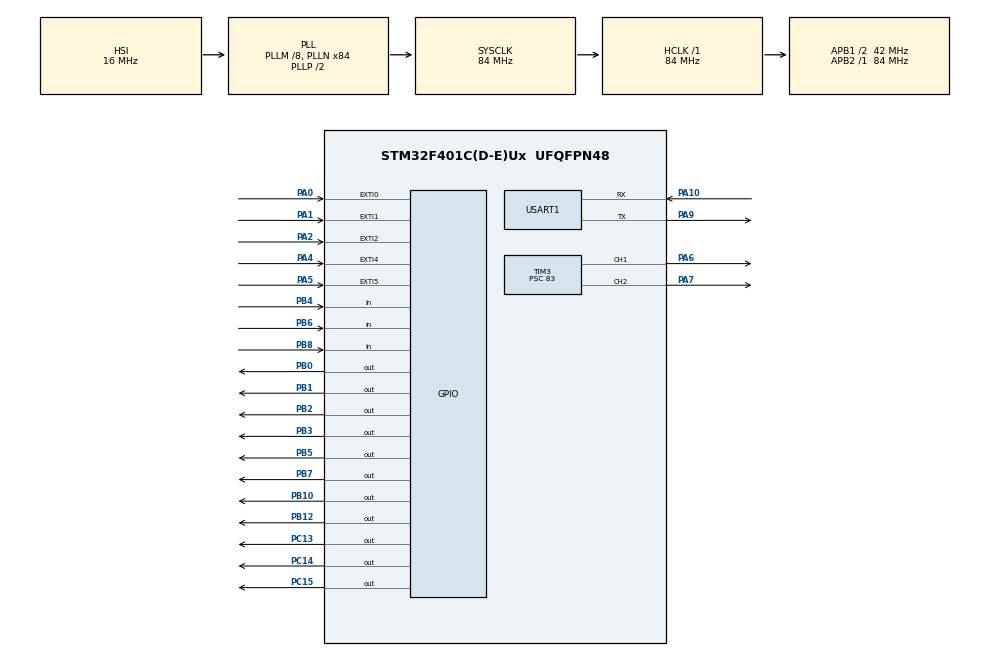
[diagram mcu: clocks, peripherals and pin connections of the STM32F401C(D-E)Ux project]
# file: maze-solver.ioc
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Mcu.Family=STM32F4
Mcu.Name=STM32F401C(D-E)Ux
Mcu.Package=UFQFPN48
NVIC.EXTI0_IRQn=true\:0\:0\:false\:false\:true\:true\:true\:true
NVIC.EXTI1_IRQn=true\:0\:0\:false\:false\:true\:true\:true\:true
NVIC.EXTI2_IRQn=true\:0\:0\:false\:false\:true\:true\:true\:true
NVIC.EXTI4_IRQn=true\:0\:0\:false\:false\:true\:true\:true\:true
NVIC.EXTI9_5_IRQn=true\:0\:0\:false\:false\:true\:true\:true\:true
NVIC.PriorityGroup=NVIC_PRIORITYGROUP_4
PA0-WKUP.GPIO_ModeDefaultEXTI=GPIO_MODE_IT_FALLING
PA0-WKUP.Signal=GPXTI0
PA1.GPIO_ModeDefaultEXTI=GPIO_MODE_IT_FALLING
PA1.Signal=GPXTI1
PA10.Mode=Asynchronous
PA10.Signal=USART1_RX
PA13.Mode=Serial_Wire
PA13.Signal=SYS_JTMS-SWDIO
PA14.Mode=Serial_Wire
PA14.Signal=SYS_JTCK-SWCLK
PA2.GPIO_ModeDefaultEXTI=GPIO_MODE_IT_FALLING
PA2.Signal=GPXTI2
PA4.Signal=GPXTI4
PA5.Signal=GPXTI5
PA6.Signal=S_TIM3_CH1
PA7.Signal=S_TIM3_CH2
PA9.Mode=Asynchronous
PA9.Signal=USART1_TX
PB0.Signal=GPIO_Output
PB1.Signal=GPIO_Output
PB10.Signal=GPIO_Output
PB12.Signal=GPIO_Output
PB2.Signal=GPIO_Output
PB3.Signal=GPIO_Output
PB4.Signal=GPIO_Input
PB5.Signal=GPIO_Output
PB6.Signal=GPIO_Input
PB7.Signal=GPIO_Output
PB8.Signal=GPIO_Input
PC13-ANTI_TAMP.Signal=GPIO_Output
PC14-OSC32_IN.GPIO_ModeDefaultOutputPP=GPIO_MODE_OUTPUT_OD
PC14-OSC32_IN.GPIO_PuPd=GPIO_PULLUP
PC14-OSC32_IN.Signal=GPIO_Output
PC15-OSC32_OUT.GPIO_ModeDefaultOutputPP=GPIO_MODE_OUTPUT_OD
PC15-OSC32_OUT.GPIO_PuPd=GPIO_PULLUP
PC15-OSC32_OUT.Signal=GPIO_Output
PH0\ -\ OSC_IN.Mode=HSE-External-Oscillator
PH0\ -\ OSC_IN.Signal=RCC_OSC_IN
PH1\ -\ OSC_OUT.Mode=HSE-External-Oscillator
PH1\ -\ OSC_OUT.Signal=RCC_OSC_OUT
ProjectManager.HeapSize=0x200
ProjectManager.StackSize=0x400
ProjectManager.TargetToolchain=CMake
RCC.48MHZClocksFreq_Value=42000000
RCC.AHBFreq_Value=84000000
RCC.APB1CLKDivider=RCC_HCLK_DIV2
RCC.APB1Freq_Value=42000000
RCC.APB1TimFreq_Value=84000000
RCC.APB2Freq_Value=84000000
RCC.APB2TimFreq_Value=84000000
RCC.CortexFreq_Value=84000000
RCC.HCLKFreq_Value=84000000
RCC.HSE_VALUE=25000000
RCC.HSI_VALUE=16000000
RCC.LSE_VALUE=32768
RCC.PLLM=8
RCC.PLLN=84
RCC.SYSCLKFreq_VALUE=84000000
RCC.SYSCLKSource=RCC_SYSCLKSOURCE_PLLCLK
RCC.VCOOutputFreq_Value=168000000
SH.S_TIM3_CH1.0=TIM3_CH1,PWM Generation1 CH1
SH.S_TIM3_CH2.0=TIM3_CH2,PWM Generation2 CH2
TIM3.Channel-PWM\ Generation1\ CH1=TIM_CHANNEL_1
TIM3.Channel-PWM\ Generation2\ CH2=TIM_CHANNEL_2
TIM3.Period=999
TIM3.Prescaler=83
USART1.VirtualMode=VM_ASYNC
board=custom

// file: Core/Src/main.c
/* USER CODE BEGIN Header */
/**
 ******************************************************************************
 * @file           : main.c
 * @brief          : Main program body
 ******************************************************************************
 * @attention
 *
 * Copyright (c) 2026 STMicroelectronics.
 * All rights reserved.
 *
 * This software is licensed under terms that can be found in the LICENSE file
 * in the root directory of this software component.
 * If no LICENSE file comes with this software, it is provided AS-IS.
 *
 ******************************************************************************
 */
/* USER CODE END Header */
#include "main.h"

/* USER CODE BEGIN Includes */
#include "cmsis_gcc.h"
#include "mpu6050.h"
#include "stm32f4xx_hal.h"
#include <math.h>
#include <stdlib.h>

/* USER CODE END Includes */

/* USER CODE BEGIN PTD */
typedef enum {
  _MOTOR_R = 0,
  _MOTOR_L,
  _TOTAL_MOTOR,
} motor_e;

typedef enum {
  _DIR_FORWARD = 0,
  _DIR_REVERSE,
  _DIR_COAST,
  _DIR_BRAKE,
} motor_dir_e;

typedef enum { _TURN_LEFT = 0, _TURN_RIGHT = 1 } turn_dir_e;

typedef enum { _US_RIGHT = 0, _US_LEFT, _US_FRONT, _TOTAL_US } ultrasonic_e;

typedef enum { _ENC_RIGHT = 0, _ENC_LEFT, _TOTAL_ENC } encoder_e;

// The events returned by the driving scanner
typedef enum {
  _MAZE_EVENT_RIGHT_OPEN = 0,
  _MAZE_EVENT_LEFT_OPEN,
  _MAZE_EVENT_FRONT_BLOCKED,
  _MAZE_EVENT_SOLVED,
  _MAZE_EVENT_ERROR
} maze_event_e;

// Available routing algorithms
typedef enum {
  _ALGO_RIGHT_WALL = 0,
  _ALGO_LEFT_WALL,
  _ALGO_FLOOD_FILL // Placeholder for future advanced algorithm
} maze_algo_e;

// Hardware mapping struct for a DC motor
typedef struct {
  GPIO_TypeDef *in1_port;
  uint16_t in1_pin;
  GPIO_TypeDef *in2_port;
  uint16_t in2_pin;
  TIM_HandleTypeDef *htim;
  uint32_t channel;
} motor_hw_t;

// Hardware mapping struct for an HC-SR04 ultrasonic sensor
typedef struct {
  GPIO_TypeDef *trig_port;
  uint16_t trig_pin;
  GPIO_TypeDef *echo_port;
  uint16_t echo_pin;
} ultrasonic_hw_t;
/* USER CODE END PTD */

/* USER CODE BEGIN PD */

#define CRASH_SAFETY_CM 5

#define ULT_SNC_READ_MS 2 // Tultrasonicpoll​

#define CONTROL_PERIOD_MS 4
// @dev: control loop does not need to run faster than new sensor information is
// available. in gneral Tultrasonicpoll​ < Tcontrol ≪ Tvehicle dynamics our
// case:   ​ Tcontrol >= 2*Tultrasonicpoll Threshold indicating an open path
#define OPENING_THRESHOLD_CM 15

/* USER CODE END PD */

TIM_HandleTypeDef htim3;

UART_HandleTypeDef huart1;

/* USER CODE BEGIN PV */

// Map hardware pins exactly as wired in your original code
static const motor_hw_t motors[_TOTAL_MOTOR] = {
    [_MOTOR_R] = {GPIOB, GPIO_PIN_1, GPIOB, GPIO_PIN_0, &htim3, TIM_CHANNEL_2},
    [_MOTOR_L] = {GPIOB, GPIO_PIN_2, GPIOB, GPIO_PIN_10, &htim3,
                  TIM_CHANNEL_1}};

static const ultrasonic_hw_t ultrasonics[_TOTAL_US] = {
    [_US_RIGHT] = {GPIOB, GPIO_PIN_3, GPIOB, GPIO_PIN_4},
    [_US_LEFT] = {GPIOB, GPIO_PIN_5, GPIOB, GPIO_PIN_6},
    [_US_FRONT] = {GPIOB, GPIO_PIN_7, GPIOB, GPIO_PIN_8}};

// Centralized encoder arrays
volatile uint32_t encoder_counts[_TOTAL_ENC] = {0, 0};
volatile uint32_t encoder_totals[_TOTAL_ENC] = {0, 0};

// Ideal corridor half-width (cm), updated dynamically whenever both side
// walls are in range. Used as fallback target when only one wall is seen.
static int32_t corridor_target_cm = 12;

static uint32_t s_base_speed = 400;

/* USER CODE END PV */

void SystemClock_Config(void);
static void MX_GPIO_Init(void);
static void MX_TIM3_Init(void);
static void MX_USART1_UART_Init(void);
/* USER CODE BEGIN PFP */

void HAL_GPIO_EXTI_Callback(uint16_t GPIO_Pin) {
  // Left encoder is PA4, Right is PA5 based on original EXTI layout
  if (GPIO_Pin == GPIO_PIN_4) {
    encoder_counts[_ENC_LEFT]++;
    encoder_totals[_ENC_LEFT]++;
  } else if (GPIO_Pin == GPIO_PIN_5) {
    encoder_counts[_ENC_RIGHT]++;
    encoder_totals[_ENC_RIGHT]++;
  }
}

static void delay_us(uint32_t us);
static void init_DWT(void);

void init_motor(void);
void motor_set_dir(motor_e motor, motor_dir_e dir);
void motor_set_speed(motor_e motor, int32_t speed);

uint32_t encoder_read_and_reset(encoder_e enc);
uint32_t encoder_get_total(encoder_e enc);

uint32_t ultrasonic_read(ultrasonic_e sensor);

static int32_t compute_centering_correction(uint32_t left_us, uint32_t right_us,
                                            uint32_t enc_left_delta,
                                            uint32_t enc_right_delta,
                                            uint32_t now_ms);
void drive_guided(uint32_t target_pulses, motor_dir_e dir);
void drive_reacquire_corridor(turn_dir_e pref_dir);

void drive_dist(uint32_t target_pulses, motor_dir_e dir);
void turn_in_place(float target_angle_deg, turn_dir_e dir);

void drive_until_wall_reengaged(turn_dir_e pref_dir);
maze_event_e drive_to_intersection(void);
void maze_solve_step(maze_algo_e active_algo);
/* USER CODE END PFP */

int main(void) {

  /* MCU Configuration--------------------------------------------------------*/

  /* Reset of all peripherals, Initializes the Flash interface and the Systick.
   */
  HAL_Init();

  /* Configure the system clock */
  SystemClock_Config();

  /* Initialize all configured peripherals */
  MX_GPIO_Init();
  MX_TIM3_Init();
  MX_USART1_UART_Init();
  /* USER CODE BEGIN 2 */

  // Turn on status LED to indicate power/init phase
  HAL_GPIO_WritePin(GPIOC, GPIO_PIN_13, GPIO_PIN_SET);

  // Initialize cycle counter for microsecond delays
  init_DWT();

  // Initialize MPU6050 if required (from original code)
  MPU6050_Init();

  // Initialize abstracted motor layer
  init_motor();

  // 2-second safety delay before any autonomous movement begins
  HAL_Delay(2000);

  /* USER CODE END 2 */

  /* Infinite loop */
  while (1) {

    /* USER CODE BEGIN 3 */
    maze_solve_step(_ALGO_RIGHT_WALL);
  }
  /* USER CODE END 3 */
}

void SystemClock_Config(void) {
  RCC_OscInitTypeDef RCC_OscInitStruct = {0};
  RCC_ClkInitTypeDef RCC_ClkInitStruct = {0};

  /** Configure the main internal regulator output voltage
   */
  __HAL_RCC_PWR_CLK_ENABLE();
  __HAL_PWR_VOLTAGESCALING_CONFIG(PWR_REGULATOR_VOLTAGE_SCALE2);

  /** Initializes the RCC Oscillators according to the specified parameters
   * in the RCC_OscInitTypeDef structure.
   */
  RCC_OscInitStruct.OscillatorType = RCC_OSCILLATORTYPE_HSI;
  RCC_OscInitStruct.HSIState = RCC_HSI_ON;
  RCC_OscInitStruct.HSICalibrationValue = RCC_HSICALIBRATION_DEFAULT;
  RCC_OscInitStruct.PLL.PLLState = RCC_PLL_ON;
  RCC_OscInitStruct.PLL.PLLSource = RCC_PLLSOURCE_HSI;
  RCC_OscInitStruct.PLL.PLLM = 8;
  RCC_OscInitStruct.PLL.PLLN = 84;
  RCC_OscInitStruct.PLL.PLLP = RCC_PLLP_DIV2;
  RCC_OscInitStruct.PLL.PLLQ = 4;
  if (HAL_RCC_OscConfig(&RCC_OscInitStruct) != HAL_OK) {
    Error_Handler();
  }

  /** Initializes the CPU, AHB and APB buses clocks
   */
  RCC_ClkInitStruct.ClockType = RCC_CLOCKTYPE_HCLK | RCC_CLOCKTYPE_SYSCLK |
                                RCC_CLOCKTYPE_PCLK1 | RCC_CLOCKTYPE_PCLK2;
  RCC_ClkInitStruct.SYSCLKSource = RCC_SYSCLKSOURCE_PLLCLK;
  RCC_ClkInitStruct.AHBCLKDivider = RCC_SYSCLK_DIV1;
  RCC_ClkInitStruct.APB1CLKDivider = RCC_HCLK_DIV2;
  RCC_ClkInitStruct.APB2CLKDivider = RCC_HCLK_DIV1;

  if (HAL_RCC_ClockConfig(&RCC_ClkInitStruct, FLASH_LATENCY_2) != HAL_OK) {
    Error_Handler();
  }
}

static void MX_TIM3_Init(void) {

  TIM_MasterConfigTypeDef sMasterConfig = {0};
  TIM_OC_InitTypeDef sConfigOC = {0};

  htim3.Instance = TIM3;
  htim3.Init.Prescaler = 83;
  htim3.Init.CounterMode = TIM_COUNTERMODE_UP;
  htim3.Init.Period = 999;
  htim3.Init.ClockDivision = TIM_CLOCKDIVISION_DIV1;
  htim3.Init.AutoReloadPreload = TIM_AUTORELOAD_PRELOAD_DISABLE;
  if (HAL_TIM_PWM_Init(&htim3) != HAL_OK) {
    Error_Handler();
  }
  sMasterConfig.MasterOutputTrigger = TIM_TRGO_RESET;
  sMasterConfig.MasterSlaveMode = TIM_MASTERSLAVEMODE_DISABLE;
  if (HAL_TIMEx_MasterConfigSynchronization(&htim3, &sMasterConfig) != HAL_OK) {
    Error_Handler();
  }
  sConfigOC.OCMode = TIM_OCMODE_PWM1;
  sConfigOC.Pulse = 0;
  sConfigOC.OCPolarity = TIM_OCPOLARITY_HIGH;
  sConfigOC.OCFastMode = TIM_OCFAST_DISABLE;
  if (HAL_TIM_PWM_ConfigChannel(&htim3, &sConfigOC, TIM_CHANNEL_1) != HAL_OK) {
    Error_Handler();
  }
  if (HAL_TIM_PWM_ConfigChannel(&htim3, &sConfigOC, TIM_CHANNEL_2) != HAL_OK) {
    Error_Handler();
  }
  HAL_TIM_MspPostInit(&htim3);
}

static void MX_USART1_UART_Init(void) {

  huart1.Instance = USART1;
  huart1.Init.BaudRate = 115200;
  huart1.Init.WordLength = UART_WORDLENGTH_8B;
  huart1.Init.StopBits = UART_STOPBITS_1;
  huart1.Init.Parity = UART_PARITY_NONE;
  huart1.Init.Mode = UART_MODE_TX_RX;
  huart1.Init.HwFlowCtl = UART_HWCONTROL_NONE;
  huart1.Init.OverSampling = UART_OVERSAMPLING_16;
  if (HAL_UART_Init(&huart1) != HAL_OK) {
    Error_Handler();
  }
}

static void MX_GPIO_Init(void) {
  GPIO_InitTypeDef GPIO_InitStruct = {0};

  /* GPIO Ports Clock Enable */
  __HAL_RCC_GPIOC_CLK_ENABLE();
  __HAL_RCC_GPIOH_CLK_ENABLE();
  __HAL_RCC_GPIOA_CLK_ENABLE();
  __HAL_RCC_GPIOB_CLK_ENABLE();

  /*Configure GPIO pin Output Level */
  HAL_GPIO_WritePin(GPIOC, GPIO_PIN_13 | GPIO_PIN_14 | GPIO_PIN_15,
                    GPIO_PIN_RESET);

  /*Configure GPIO pin Output Level */
  HAL_GPIO_WritePin(GPIOB,
                    GPIO_PIN_0 | GPIO_PIN_1 | GPIO_PIN_2 | GPIO_PIN_10 |
                        GPIO_PIN_12 | GPIO_PIN_3 | GPIO_PIN_5 | GPIO_PIN_7,
                    GPIO_PIN_RESET);

  /*Configure GPIO pin : PC13 */
  GPIO_InitStruct.Pin = GPIO_PIN_13;
  GPIO_InitStruct.Mode = GPIO_MODE_OUTPUT_PP;
  GPIO_InitStruct.Pull = GPIO_NOPULL;
  GPIO_InitStruct.Speed = GPIO_SPEED_FREQ_LOW;
  HAL_GPIO_Init(GPIOC, &GPIO_InitStruct);

  /*Configure GPIO pins : PC14 PC15 */
  GPIO_InitStruct.Pin = GPIO_PIN_14 | GPIO_PIN_15;
  GPIO_InitStruct.Mode = GPIO_MODE_OUTPUT_OD;
  GPIO_InitStruct.Pull = GPIO_PULLUP;
  GPIO_InitStruct.Speed = GPIO_SPEED_FREQ_LOW;
  HAL_GPIO_Init(GPIOC, &GPIO_InitStruct);

  /*Configure GPIO pins : PA0 PA1 PA2 */
  GPIO_InitStruct.Pin = GPIO_PIN_0 | GPIO_PIN_1 | GPIO_PIN_2;
  GPIO_InitStruct.Mode = GPIO_MODE_IT_FALLING;
  GPIO_InitStruct.Pull = GPIO_NOPULL;
  HAL_GPIO_Init(GPIOA, &GPIO_InitStruct);

  /*Configure GPIO pins : PA4 PA5 */
  GPIO_InitStruct.Pin = GPIO_PIN_4 | GPIO_PIN_5;
  GPIO_InitStruct.Mode = GPIO_MODE_IT_RISING;
  GPIO_InitStruct.Pull = GPIO_NOPULL;
  HAL_GPIO_Init(GPIOA, &GPIO_InitStruct);

  /*Configure GPIO pins : PB0 PB1 PB2 PB10
                           PB12 PB3 PB5 PB7 */
  GPIO_InitStruct.Pin = GPIO_PIN_0 | GPIO_PIN_1 | GPIO_PIN_2 | GPIO_PIN_10 |
                        GPIO_PIN_12 | GPIO_PIN_3 | GPIO_PIN_5 | GPIO_PIN_7;
  GPIO_InitStruct.Mode = GPIO_MODE_OUTPUT_PP;
  GPIO_InitStruct.Pull = GPIO_NOPULL;
  GPIO_InitStruct.Speed = GPIO_SPEED_FREQ_LOW;
  HAL_GPIO_Init(GPIOB, &GPIO_InitStruct);

  /*Configure GPIO pins : PB4 PB6 PB8 */
  GPIO_InitStruct.Pin = GPIO_PIN_4 | GPIO_PIN_6 | GPIO_PIN_8;
  GPIO_InitStruct.Mode = GPIO_MODE_INPUT;
  GPIO_InitStruct.Pull = GPIO_NOPULL;
  HAL_GPIO_Init(GPIOB, &GPIO_InitStruct);

  /* EXTI interrupt init*/
  HAL_NVIC_SetPriority(EXTI0_IRQn, 0, 0);
  HAL_NVIC_EnableIRQ(EXTI0_IRQn);

  HAL_NVIC_SetPriority(EXTI1_IRQn, 0, 0);
  HAL_NVIC_EnableIRQ(EXTI1_IRQn);

  HAL_NVIC_SetPriority(EXTI2_IRQn, 0, 0);
  HAL_NVIC_EnableIRQ(EXTI2_IRQn);

  HAL_NVIC_SetPriority(EXTI4_IRQn, 0, 0);
  HAL_NVIC_EnableIRQ(EXTI4_IRQn);

  HAL_NVIC_SetPriority(EXTI9_5_IRQn, 0, 0);
  HAL_NVIC_EnableIRQ(EXTI9_5_IRQn);

}

/* USER CODE BEGIN 4 */

static void delay_us(uint32_t us) {
  uint32_t startCycles = DWT->CYCCNT;
  uint32_t delayCycles = us * (SystemCoreClock / 1000000);
  while ((DWT->CYCCNT - startCycles) < delayCycles)
    ;
}

static void init_DWT(void) {
  CoreDebug->DEMCR |= CoreDebug_DEMCR_TRCENA_Msk;
  DWT->CYCCNT = 0;
  DWT->CTRL |= DWT_CTRL_CYCCNTENA_Msk;
}

// MOTOR DRIVERS
void init_motor(void) {
  // Enable motor driver standby pin (STBY = HIGH)
  HAL_GPIO_WritePin(GPIOB, GPIO_PIN_12, GPIO_PIN_SET);

  // Start PWM channels
  for (int i = 0; i < _TOTAL_MOTOR; i++) {
    HAL_TIM_PWM_Start(motors[i].htim, motors[i].channel);
    __HAL_TIM_SET_COMPARE(motors[i].htim, motors[i].channel, 0);
  }
}
void motor_set_dir(motor_e motor, motor_dir_e dir) {
  if (motor >= _TOTAL_MOTOR)
    return;

  const motor_hw_t *hw = &motors[motor];

  switch (dir) {
  case _DIR_FORWARD:
    HAL_GPIO_WritePin(hw->in1_port, hw->in1_pin, GPIO_PIN_SET);
    HAL_GPIO_WritePin(hw->in2_port, hw->in2_pin, GPIO_PIN_RESET);
    break;
  case _DIR_REVERSE:
    HAL_GPIO_WritePin(hw->in1_port, hw->in1_pin, GPIO_PIN_RESET);
    HAL_GPIO_WritePin(hw->in2_port, hw->in2_pin, GPIO_PIN_SET);
    break;
  case _DIR_BRAKE: // Both HIGH to short motor terminals
    HAL_GPIO_WritePin(hw->in1_port, hw->in1_pin, GPIO_PIN_SET);
    HAL_GPIO_WritePin(hw->in2_port, hw->in2_pin, GPIO_PIN_SET);
    break;
  case _DIR_COAST: // Both LOW to freewheel
    HAL_GPIO_WritePin(hw->in1_port, hw->in1_pin, GPIO_PIN_RESET);
    HAL_GPIO_WritePin(hw->in2_port, hw->in2_pin, GPIO_PIN_RESET);
    break;
  }
}
/**
 * @brief Sets the motor PWM speed, safely clamping out-of-bounds PID values.
 * @param motor The motor to control.
 * @param speed Signed speed value (safely clamped to 0-999).
 */
void motor_set_speed(motor_e motor, int32_t speed) {
  if (motor >= _TOTAL_MOTOR)
    return;

  // Centralized clamping
  if (speed < 0)
    speed = 0;
  if (speed > 999)
    speed = 999;

  __HAL_TIM_SET_COMPARE(motors[motor].htim, motors[motor].channel,
                        (uint32_t)speed);
}

// ENCODER DRIVERS

// Safely read and clear encoder delta (interrupt safe)
uint32_t encoder_read_and_reset(encoder_e enc) {
  if (enc >= _TOTAL_ENC)
    return 0;

  __disable_irq();
  uint32_t count = encoder_counts[enc];
  encoder_counts[enc] = 0;
  __enable_irq();

  return count;
}

uint32_t encoder_get_total(encoder_e enc) {
  if (enc >= _TOTAL_ENC)
    return 0;

  __disable_irq();
  uint32_t total = encoder_totals[enc];
  __enable_irq();

  return total;
}

// ULTRASONIC DRIVERS

uint32_t ultrasonic_read(ultrasonic_e sensor) {
  if (sensor >= _TOTAL_US)
    return 999;

  const ultrasonic_hw_t *hw = &ultrasonics[sensor];

  // Trigger pulse
  HAL_GPIO_WritePin(hw->trig_port, hw->trig_pin, GPIO_PIN_RESET);
  delay_us(2);
  HAL_GPIO_WritePin(hw->trig_port, hw->trig_pin, GPIO_PIN_SET);
  delay_us(10);
  HAL_GPIO_WritePin(hw->trig_port, hw->trig_pin, GPIO_PIN_RESET);

  uint32_t waitStart = DWT->CYCCNT;

  // Wait for echo to go HIGH
  while (HAL_GPIO_ReadPin(hw->echo_port, hw->echo_pin) == GPIO_PIN_RESET) {
    if ((DWT->CYCCNT - waitStart) > (SystemCoreClock / 1000) * 30)
      return 999;
  }

  uint32_t startCycles = DWT->CYCCNT;
  uint8_t timedOut = 0;

  // Wait for echo to go LOW
  while (HAL_GPIO_ReadPin(hw->echo_port, hw->echo_pin) == GPIO_PIN_SET) {
    if ((DWT->CYCCNT - startCycles) > (SystemCoreClock / 1000) * 30) {
      timedOut = 1;
      break;
    }
  }

  if (timedOut)
    return 999;

  uint32_t endCycles = DWT->CYCCNT;
  uint32_t pulseMicros =
      (endCycles - startCycles) / (SystemCoreClock / 1000000);

  return pulseMicros / 58;
}

// Application

/**
 * @brief Drives a fixed distance with only encoder cross-track PID, no
 *        ultrasonic centering. DEPRECATED for forward corridor travel — use
 *        drive_guided() instead, which is what caused the post-turn wall
 *        collisions. Kept only because it's the one primitive that supports
 *        _DIR_REVERSE.
 * @param target_pulses The distance to travel, measured in encoder ticks.
 * @param dir Direction of travel (_DIR_FORWARD or _DIR_REVERSE).
 */

void drive_dist(uint32_t target_pulses, motor_dir_e dir) {

  // Record starting encoder totals
  uint32_t start_left = encoder_get_total(_ENC_LEFT);
  uint32_t start_right = encoder_get_total(_ENC_RIGHT);

  // Set both motors to desired direction
  motor_set_dir(_MOTOR_L, dir);
  motor_set_dir(_MOTOR_R, dir);

  s_base_speed = 400;
  const float Kp = 30.0f; // Proportional gain for straight-line correction

  // Software Watchdog Initialization
  uint32_t watchdog_start = HAL_GetTick();
  // Dynamic timeout: Give it 5ms per pulse, plus a 1.5-second base allowance
  uint32_t watchdog_timeout_ms = (target_pulses * 5) + 1500;
  uint32_t last_us_check = HAL_GetTick();
  uint8_t us_poll_target = 0; // 0: Front, 1: Left, 2: Right

  while (1) {

    uint32_t now = HAL_GetTick();

    // Software Watchdog Check
    if (now - watchdog_start > watchdog_timeout_ms) {
      // Trap the system if it takes too long to reach the  target
      Error_Handler();
    }

    //  Crash Safety Polling (Round-robin to prevent PID blocking)
    // Only engage safety checks if driving forward
    if (dir == _DIR_FORWARD && (now - last_us_check >= ULT_SNC_READ_MS)) {
      last_us_check = now;
      uint32_t dist = 999;

      if (us_poll_target == 0) {
        dist = ultrasonic_read(_US_FRONT);
      } else if (us_poll_target == 1) {
        dist = ultrasonic_read(_US_LEFT);
      } else {
        dist = ultrasonic_read(_US_RIGHT);
      }

      // Emergency stop condition
      if (dist <= CRASH_SAFETY_CM) {
        break;
      }
      us_poll_target = (us_poll_target + 1) % 3;
    }

    //  Encoder PID Control
    uint32_t current_left = encoder_get_total(_ENC_LEFT) - start_left;
    uint32_t current_right = encoder_get_total(_ENC_RIGHT) - start_right;

    // Target reached condition
    if (current_left >= target_pulses && current_right >= target_pulses) {
      break;
    }

    // Calculate cross-track error to keep the car straight
    int32_t error = (int32_t)current_left - (int32_t)current_right;
    int32_t correction = (int32_t)(Kp * (float)error);

    int32_t left_speed = s_base_speed - correction;
    int32_t right_speed = s_base_speed + correction;

    // If one wheel finishes early, stop it while the other catches up
    if (current_left >= target_pulses) {
      left_speed = 0;
    }

    if (current_right >= target_pulses) {
      right_speed = 0;
    }

    motor_set_speed(_MOTOR_L, left_speed);
    motor_set_speed(_MOTOR_R, right_speed);

    HAL_Delay(CONTROL_PERIOD_MS);
  }

  // Active braking to stop momentum instantly
  motor_set_dir(_MOTOR_L, _DIR_BRAKE);
  motor_set_dir(_MOTOR_R, _DIR_BRAKE);

  motor_set_speed(_MOTOR_L, 0);
  motor_set_speed(_MOTOR_R, 0);

  // Hold brake briefly, then release to coast so motors aren't held under load
  HAL_Delay(100);

  motor_set_dir(_MOTOR_L, _DIR_COAST);
  motor_set_dir(_MOTOR_R, _DIR_COAST);
}

/**

 * @brief Rotates the car in place by a specified angle using gyro integration.
 * @param target_angle_deg The angle to turn in degrees.
 * @param dir The direction to turn (TURN_LEFT or TURN_RIGHT).
 */
void turn_in_place(float target_angle_deg, turn_dir_e dir) {

  // @Patch: Chassis Clearance Nudge
  // Advance half the body length (8cm) to prevent bumper clipping during
  // rotation. 8 cm / 1.021 cm/pulse = ~8 pulses. Guided (not blind) so the
  // car stays centered right up to the pivot point.
  drive_guided(7, _DIR_FORWARD);
  // Pause briefly to let the chassis settle and prevent gyro motion artifacts
  HAL_Delay(100);

  float turn_sum = 0.0f;

  uint32_t last_gyro_check = HAL_GetTick();
  uint32_t last_control_time = HAL_GetTick();

  // Reset local encoder tracking to synchronize wheel speeds during the turn

  uint32_t start_left = encoder_get_total(_ENC_LEFT);
  uint32_t start_right = encoder_get_total(_ENC_RIGHT);

  // Dynamic speed parameters
  const uint32_t MIN_SPEED = 400; // Minimum PWM to overcome motor stall torque
  const uint32_t MAX_SPEED = 450;

  const float Kp_angle = 5.0f; // Proportional gain for deceleration
  const float Kp_enc = 30.0f;  // Proportional gain for wheel speed matching

  // Set opposite wheel directions for a zero-radius turn
  if (dir == _TURN_RIGHT) {
    motor_set_dir(_MOTOR_L, _DIR_FORWARD);
    motor_set_dir(_MOTOR_R, _DIR_REVERSE);

  } else {
    motor_set_dir(_MOTOR_L, _DIR_REVERSE);
    motor_set_dir(_MOTOR_R, _DIR_FORWARD);
  }

  // A small offset (e.g., 5.0 degrees) can be subtracted from target_angle_deg
  // here if your physical chassis has high inertia and overshoots despite
  // braking.
  const float c_offset = 17.0f;
  float target_ang = target_angle_deg - c_offset;

  while (fabsf(turn_sum) < target_ang) {
    uint32_t now = HAL_GetTick();
    //  Gyro Integration (Read every ~2ms)
    if (now - last_gyro_check >= 2) {
      float dt = (now - last_gyro_check) * 0.001f; // Convert ms to seconds
      last_gyro_check = now;
      // Integrate Z-axis degrees-per-second into total degrees
      turn_sum += MPU6050_ReadGyroZ_DPS() * dt;
    }

    // Motor Control Loop (Update every 1ms)
    if (now - last_control_time >= 1) {
      last_control_time = now;

      // Calculate base speed proportionally based on remaining angle
      float angle_remaining = target_angle_deg - fabsf(turn_sum);

      uint32_t base_speed = (uint32_t)(angle_remaining * Kp_angle);

      if (base_speed > MAX_SPEED) {
        base_speed = MAX_SPEED;
      }

      if (base_speed < MIN_SPEED) {
        base_speed = MIN_SPEED;
      }

      // Encoder synchronization to prevent the pivot point from drifting
      uint32_t current_left = encoder_get_total(_ENC_LEFT) - start_left;
      uint32_t current_right = encoder_get_total(_ENC_RIGHT) - start_right;

      int32_t enc_error = (int32_t)current_left - (int32_t)current_right;
      int32_t correction = (int32_t)(Kp_enc * (float)enc_error);

      int32_t left_speed = (int32_t)base_speed - correction;
      int32_t right_speed = (int32_t)base_speed + correction;

      motor_set_speed(_MOTOR_L, left_speed);
      motor_set_speed(_MOTOR_R, right_speed);
    }
  }

  // Active Braking: short the motor terminals to kill momentum instantly
  motor_set_dir(_MOTOR_L, _DIR_BRAKE);
  motor_set_dir(_MOTOR_R, _DIR_BRAKE);
  motor_set_speed(_MOTOR_L, 0);
  motor_set_speed(_MOTOR_R, 0);

  // Hold brake briefly to bleed momentum
  HAL_Delay(100);

  // Release to coast so motors aren't continually driven against physical
  // resistance
  motor_set_dir(_MOTOR_L, _DIR_COAST);
  motor_set_dir(_MOTOR_R, _DIR_COAST);
}

/**
 * @brief Shared centering law: cross-track error from side ultrasonics when a
 *        wall is present, falling back to encoder cross-track error in open
 *        space. Dynamically updates corridor_target_cm whenever both walls
 *        are seen, so single-wall tracking uses a fresh half-width.
 */

static int32_t compute_centering_correction(uint32_t left_us, uint32_t right_us,
                                            uint32_t enc_left_delta,
                                            uint32_t enc_right_delta,
                                            uint32_t now_ms) {
  const int32_t DEADBAND_CM = 2;

  const float Kp_center = 10.0f;
  const float Kd_center = 2.0f;
  const float Kp_enc = 30.0f;

  static float previous_error = 0.0f;
  static uint32_t previous_time_ms = 0;

  int32_t center_error = 0;
  uint8_t use_encoder_pid = 0;

  float dt = 0.0f;

  if (previous_time_ms != 0U) {
    uint32_t dt_ms = now_ms - previous_time_ms;
    dt = (float)dt_ms / 1000.0f;
  }

  previous_time_ms = now_ms;

  // Determine centering error.
  if (left_us < OPENING_THRESHOLD_CM && right_us < OPENING_THRESHOLD_CM) {
    corridor_target_cm = ((int32_t)left_us + (int32_t)right_us) / 2;

    center_error = (int32_t)left_us - (int32_t)right_us;
  } else if (left_us < OPENING_THRESHOLD_CM) {
    center_error = (int32_t)left_us - corridor_target_cm;
  } else if (right_us < OPENING_THRESHOLD_CM) {
    center_error = corridor_target_cm - (int32_t)right_us;
  } else {
    use_encoder_pid = 1;
  }

  // Open-space encoder fallback.
  if (use_encoder_pid) {
    int32_t enc_error = (int32_t)enc_left_delta - (int32_t)enc_right_delta;

    /*
     * Keep the previous ultrasonic error synchronized
     * with the current controller state.
     */
    previous_error = 0.0f;

    return (int32_t)(Kp_enc * (float)enc_error);
  }

  if (center_error >= -DEADBAND_CM && center_error <= DEADBAND_CM) {
    center_error = 0;
  }

  float error = (float)center_error;
  float derivative = 0.0f;

  if (dt > 0.0f) {
    derivative = (error - previous_error) / dt;
  }

  previous_error = error;

  // PD controller.
  float correction = Kp_center * error + Kd_center * derivative;

  return (int32_t)correction;
}

/**

 * @brief Universal guided translation. Drives forward exactly target_pulses
 *        while continuously running the ultrasonic centering PID (falls back
 *        to encoder cross-track PID in open space). Replaces every blind
 *        encoder-only forward move, including the post-turn advance, so the
 *        car never drifts diagonally into a wall before centering kicks in.
 * @param target_pulses Distance to travel, in encoder ticks. 0 = no-op.
 */

void drive_guided(uint32_t target_pulses, motor_dir_e dir) {

  if (target_pulses == 0)

    return;

  uint32_t start_left = encoder_get_total(_ENC_LEFT);
  uint32_t start_right = encoder_get_total(_ENC_RIGHT);

  uint32_t last_left_count = start_left;
  uint32_t last_right_count = start_right;

  uint32_t last_movement_time = HAL_GetTick();

  const uint32_t STALL_TIMEOUT_MS = 500;
  s_base_speed = 450;

  motor_set_dir(_MOTOR_L, dir);
  motor_set_dir(_MOTOR_R, dir);

  // Seed with "unknown/far" so the very first control tick still runs a
  // centering pass instead of a blind one, on stale-but-safe defaults.
  uint32_t latest_front_us = 999;
  uint32_t latest_left_us = 999;
  uint32_t latest_right_us = 999;
  uint32_t last_us_check = HAL_GetTick();
  uint8_t us_poll_target = 0; // 0: front (safety), 1: left, 2: right

  while (1) {

    uint32_t now = HAL_GetTick();

    uint32_t current_left = encoder_get_total(_ENC_LEFT);
    uint32_t current_right = encoder_get_total(_ENC_RIGHT);

    uint32_t delta_left = current_left - start_left;
    uint32_t delta_right = current_right - start_right;

    // Stall watchdog
    if (current_left != last_left_count || current_right != last_right_count) {
      last_left_count = current_left;
      last_right_count = current_right;
      last_movement_time = now;
    }

    if (now - last_movement_time > STALL_TIMEOUT_MS) {
      Error_Handler();
    }
    if (delta_left >= target_pulses && delta_right >= target_pulses) {
      break;
    }

    // Round-robin polling: front (crash safety) + both side walls.
    if (now - last_us_check >= ULT_SNC_READ_MS) {
      last_us_check = now;
      if (us_poll_target == 0) {
        latest_front_us = ultrasonic_read(_US_FRONT);
        if (latest_front_us <= CRASH_SAFETY_CM) {
          break; // Emergency stop, short of target.
        }
      } else if (us_poll_target == 1) {
        latest_left_us = ultrasonic_read(_US_LEFT);
      } else {
        latest_right_us = ultrasonic_read(_US_RIGHT);
      }
      us_poll_target = (us_poll_target + 1) % 3;
    }

    int32_t correction = compute_centering_correction(
        latest_left_us, latest_right_us, delta_left, delta_right, now);

    int32_t left_speed = (int32_t)s_base_speed - correction;
    int32_t right_speed = (int32_t)s_base_speed + correction;

    // Let the near-finished wheel coast so it doesn't overshoot the target.
    if (delta_left >= target_pulses) {
      left_speed = 0;
    }
    if (delta_right >= target_pulses) {
      right_speed = 0;
    }

    motor_set_speed(_MOTOR_L, left_speed);
    motor_set_speed(_MOTOR_R, right_speed);

    HAL_Delay(CONTROL_PERIOD_MS);
  }

  motor_set_dir(_MOTOR_L, _DIR_BRAKE);
  motor_set_dir(_MOTOR_R, _DIR_BRAKE);

  motor_set_speed(_MOTOR_L, 0);
  motor_set_speed(_MOTOR_R, 0);

  HAL_Delay(100);

  motor_set_dir(_MOTOR_L, _DIR_COAST);
  motor_set_dir(_MOTOR_R, _DIR_COAST);
}

/**
 * @brief Advances into the new corridor right after a turn, actively
 *        centering/squaring from tick 0 (no blind phase) until the preferred
 *        wall is reacquired or a front wall is hit. This is what fixes the
 *        post-turn wall collision: the old version only ran encoder
 *        cross-track PID here, which does not correct for the small heading
 *        error left over from the turn.
 * @param pref_dir The wall we are trying to re-engage (_TURN_RIGHT or
 * _TURN_LEFT).
 */

void drive_reacquire_corridor(turn_dir_e pref_dir) {

  // @Patch: needs to be solved: as maze is know; moving car forward to reduce
  // reacuire corridor moves car forward to its halg lenght distance
  drive_guided(8, _DIR_FORWARD);
  // Pause briefly to let the chassis settle and prevent gyro motion artifacts
  HAL_Delay(250);

  uint32_t start_left = encoder_get_total(_ENC_LEFT);
  uint32_t start_right = encoder_get_total(_ENC_RIGHT);

  uint32_t last_left_count = start_left;
  uint32_t last_right_count = start_right;
  uint32_t last_movement_time = HAL_GetTick();

  const uint32_t STALL_TIMEOUT_MS = 500;
  s_base_speed = 450;
  // Matches OPENING_THRESHOLD_CM
  const uint32_t REENGAGE_THRESHOLD_CM = OPENING_THRESHOLD_CM;
  const uint32_t STOP_DISTANCE_CM = 5;

  ultrasonic_e pref_sensor = (pref_dir == _TURN_RIGHT) ? _US_RIGHT : _US_LEFT;

  motor_set_dir(_MOTOR_L, _DIR_FORWARD);
  motor_set_dir(_MOTOR_R, _DIR_FORWARD);

  uint32_t latest_front_us = 999;
  uint32_t latest_left_us = 999;
  uint32_t latest_right_us = 999;
  uint32_t last_us_check = HAL_GetTick();
  uint8_t us_poll_target = 0; // 0: front, 1: left, 2: right

  while (1) {

    uint32_t now = HAL_GetTick();

    uint32_t current_left = encoder_get_total(_ENC_LEFT);
    uint32_t current_right = encoder_get_total(_ENC_RIGHT);
    uint32_t delta_left = current_left - start_left;
    uint32_t delta_right = current_right - start_right;

    if (current_left != last_left_count || current_right != last_right_count) {

      last_left_count = current_left;
      last_right_count = current_right;
      last_movement_time = now;
    }

    if (now - last_movement_time > STALL_TIMEOUT_MS) {
      Error_Handler();
    }

    if (now - last_us_check >= ULT_SNC_READ_MS) {
      last_us_check = now;

      if (us_poll_target == 0) {
        latest_front_us = ultrasonic_read(_US_FRONT);
        if (latest_front_us <= STOP_DISTANCE_CM) {
          break; // T-junction / dead end reached before wall reappeared.
        }

      } else if (us_poll_target == 1) {
        latest_left_us = ultrasonic_read(_US_LEFT);

      } else {
        latest_right_us = ultrasonic_read(_US_RIGHT);
      }
      us_poll_target = (us_poll_target + 1) % 3;
    }

    uint32_t pref_us =
        (pref_sensor == _US_LEFT) ? latest_left_us : latest_right_us;

    if (pref_us < REENGAGE_THRESHOLD_CM) {
      break; // Preferred wall reacquired; squared and centered.
    }

    int32_t correction = compute_centering_correction(
        latest_left_us, latest_right_us, delta_left, delta_right, now);

    motor_set_speed(_MOTOR_L, s_base_speed - correction);
    motor_set_speed(_MOTOR_R, s_base_speed + correction);

    HAL_Delay(CONTROL_PERIOD_MS);
  }

  motor_set_dir(_MOTOR_L, _DIR_BRAKE);
  motor_set_dir(_MOTOR_R, _DIR_BRAKE);
  motor_set_speed(_MOTOR_L, 0);
  motor_set_speed(_MOTOR_R, 0);
  HAL_Delay(100);
  motor_set_dir(_MOTOR_L, _DIR_COAST);
  motor_set_dir(_MOTOR_R, _DIR_COAST);
}

/**
 * @brief Drives forward using dynamic ultrasonic PID centering with a deadband.
 */

maze_event_e drive_to_intersection(void) {

  uint32_t start_left = encoder_get_total(_ENC_LEFT);
  uint32_t start_right = encoder_get_total(_ENC_RIGHT);

  uint32_t last_left_count = start_left;
  uint32_t last_right_count = start_right;

  uint32_t last_movement_time = HAL_GetTick();

  const uint32_t STALL_TIMEOUT_MS = 500;

  motor_set_dir(_MOTOR_L, _DIR_FORWARD);
  motor_set_dir(_MOTOR_R, _DIR_FORWARD);

  s_base_speed = 450;

  const uint32_t GOAL_OPENING_THRESHOLD_CM = 20; // Threshold for open goal zone
  const uint32_t STOP_DISTANCE_CM = 5;           // Front wall stopping distance

  uint32_t latest_front_us = 999;
  uint32_t latest_right_us = 999;
  uint32_t latest_left_us = 999;

  uint32_t last_us_check = HAL_GetTick();
  uint8_t us_poll_target = 0;

  maze_event_e detected_event = _MAZE_EVENT_ERROR;

  while (1) {

    uint32_t now = HAL_GetTick();

    uint32_t current_left = encoder_get_total(_ENC_LEFT);
    uint32_t current_right = encoder_get_total(_ENC_RIGHT);

    //  Stall-Detecting Software Watchdog
    if (current_left != last_left_count || current_right != last_right_count) {

      last_left_count = current_left;
      last_right_count = current_right;
      last_movement_time = now;
    }

    if (now - last_movement_time > STALL_TIMEOUT_MS) {
      Error_Handler();
    }

    // Environmental Polling (Round-robin)
    if (now - last_us_check >= ULT_SNC_READ_MS) {
      last_us_check = now;

      if (us_poll_target == 0) {
        latest_right_us = ultrasonic_read(_US_RIGHT);

        // @dev: (current_left - start_left) > 8) = Don't consider a side
        // opening until the car has moved
        // more than 8 encoder counts from the starting position.
        if (latest_right_us > OPENING_THRESHOLD_CM &&
            (current_left - start_left) > 8) {
          detected_event = _MAZE_EVENT_RIGHT_OPEN;
          break;
        }

      } else if (us_poll_target == 1) {
        latest_left_us = ultrasonic_read(_US_LEFT);
        if (latest_left_us > OPENING_THRESHOLD_CM &&
            (current_left - start_left) > 8) {
          detected_event = _MAZE_EVENT_LEFT_OPEN;
          break;
        }
      } else {
        latest_front_us = ultrasonic_read(_US_FRONT);

        if (latest_front_us <= STOP_DISTANCE_CM) {
          detected_event = _MAZE_EVENT_FRONT_BLOCKED;
          break;
        }
      }

      us_poll_target = (us_poll_target + 1) % 3;
    }

    // --- GOAL CHECK ---
    // Evaluated continuously once sensors update to catch open target zones
    if ((current_left - start_left) > 8 &&
        latest_front_us > GOAL_OPENING_THRESHOLD_CM &&
        latest_left_us > GOAL_OPENING_THRESHOLD_CM &&
        latest_right_us > GOAL_OPENING_THRESHOLD_CM) {
      detected_event = _MAZE_EVENT_SOLVED;
      break;
    }

    //  Centering PID with dynamic corridor tracking + deadband (shared law)
    int32_t correction = compute_centering_correction(
        latest_left_us, latest_right_us, current_left - start_left,
        current_right - start_right, now);

    motor_set_speed(_MOTOR_L, s_base_speed - correction);
    motor_set_speed(_MOTOR_R, s_base_speed + correction);

    HAL_Delay(CONTROL_PERIOD_MS);
  }

  // Active Braking
  motor_set_dir(_MOTOR_L, _DIR_BRAKE);
  motor_set_dir(_MOTOR_R, _DIR_BRAKE);

  motor_set_speed(_MOTOR_L, 0);
  motor_set_speed(_MOTOR_R, 0);

  HAL_Delay(100);

  motor_set_dir(_MOTOR_L, _DIR_COAST);
  motor_set_dir(_MOTOR_R, _DIR_COAST);

  return detected_event;
}

/**
 * @brief Universal wall follower step.
 * @param pref_dir The wall to track (_TURN_RIGHT or _TURN_LEFT).
 */

void algo_wall_follower_step(turn_dir_e pref_dir) {

  const uint32_t WALL_DETECT_CM = 20; // Secondary check threshold
  turn_dir_e opp_dir = (pref_dir == _TURN_RIGHT) ? _TURN_LEFT : _TURN_RIGHT;
  ultrasonic_e pref_sensor = (pref_dir == _TURN_RIGHT) ? _US_RIGHT : _US_LEFT;
  ultrasonic_e opp_sensor = (pref_dir == _TURN_RIGHT) ? _US_LEFT : _US_RIGHT;

  maze_event_e event = drive_to_intersection();

  if (event == _MAZE_EVENT_SOLVED) {

    while (1) {
      HAL_GPIO_TogglePin(GPIOC, GPIO_PIN_13);
      HAL_Delay(500);
    }
  }

  //  Passing an Open Intersection
  if ((pref_sensor == _US_RIGHT && event == _MAZE_EVENT_RIGHT_OPEN) ||
      (pref_sensor == _US_LEFT && event == _MAZE_EVENT_LEFT_OPEN)) {
    turn_in_place(90.0f, pref_dir);
    drive_reacquire_corridor(pref_dir);
  }

  //  Approaching a Corner / Dead End
  else if (event == _MAZE_EVENT_FRONT_BLOCKED) {
    if (ultrasonic_read(pref_sensor) > WALL_DETECT_CM) {
      turn_in_place(90.0f, pref_dir);
      drive_reacquire_corridor(pref_dir);
    } else if (ultrasonic_read(opp_sensor) > WALL_DETECT_CM) {
      turn_in_place(90.0f, opp_dir);
      drive_reacquire_corridor(opp_dir);
    } else {
      turn_in_place(180.0f, pref_dir);
    }
  }
}

/**
 * @brief Top-level router for the active maze-solving strategy.
 * @param active_algo The selected routing algorithm.
 */

void maze_solve_step(maze_algo_e active_algo) {

  switch (active_algo) {
  case _ALGO_RIGHT_WALL:
    algo_wall_follower_step(_TURN_RIGHT);
    break;
  case _ALGO_LEFT_WALL:
    algo_wall_follower_step(_TURN_LEFT);
    break;
  case _ALGO_FLOOD_FILL:
    // future_flood_fill_step();
    break;

  default:
    Error_Handler();
    break;
  }
}

/* USER CODE END 4 */

void Error_Handler(void) {
  /* USER CODE BEGIN Error_Handler_Debug */
  /* User can add his own implementation to report the HAL error return state */
  __disable_irq();
  //  Immediately drop motors into active brake
  motor_set_dir(_MOTOR_L, _DIR_BRAKE);
  motor_set_dir(_MOTOR_R, _DIR_BRAKE);
  motor_set_speed(_MOTOR_L, 0);
  motor_set_speed(_MOTOR_R, 0);
  while (1) {
    HAL_GPIO_TogglePin(GPIOC, GPIO_PIN_13);

    // Crude blocking delay (~100ms depending on your specific clock frequency)
    // Adjust the loop ceiling if it blinks too fast or too slow on your
    // specific board
    for (volatile uint32_t i = 0; i < 1500000; i++) {
      __NOP();
    }
  }
  /* USER CODE END Error_Handler_Debug */
}

#ifdef USE_FULL_ASSERT
/**
 * @brief  Reports the name of the source file and the source line number
 *         where the assert_param error has occurred.
 * @param  file: pointer to the source file name
 * @param  line: assert_param error line source number
 * @retval None
 */
void assert_failed(uint8_t *file, uint32_t line) {
  /* USER CODE BEGIN 6 */
  /* User can add his own implementation to report the file name and line
     number, ex: printf("Wrong parameters value: file %s on line %d\r\n", file,
     line) */
  /* USER CODE END 6 */
}
#endif /* USE_FULL_ASSERT */
